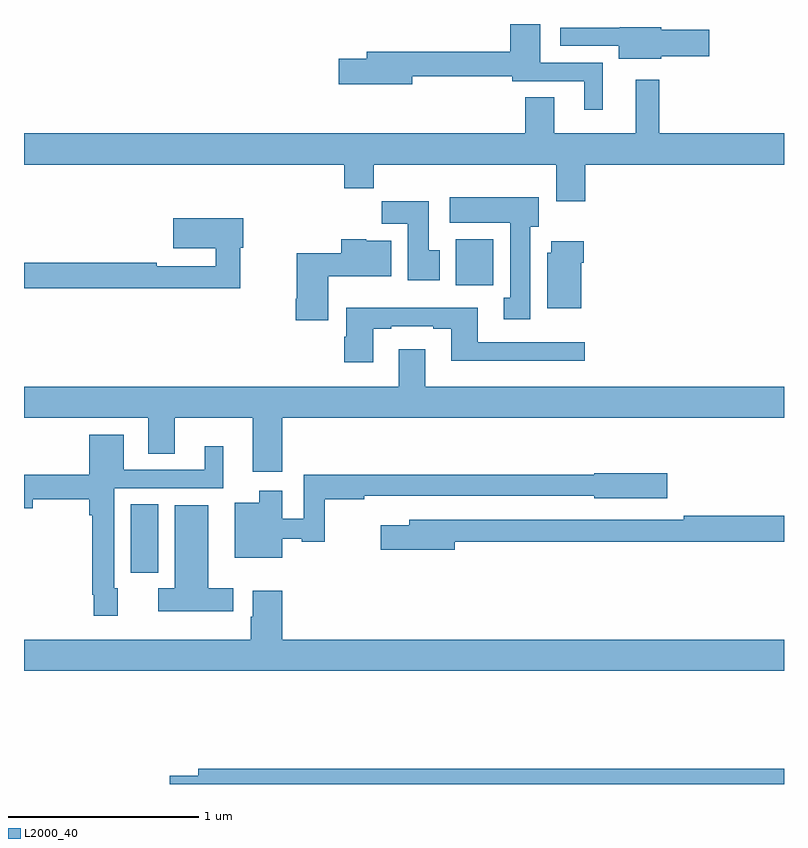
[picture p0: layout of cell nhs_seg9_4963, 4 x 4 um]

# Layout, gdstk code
import gdstk
lib = gdstk.Library(unit=1e-6, precision=1e-09)
def R(c, l, rs):  # rectangles x0, y0, x1, y1
    for r in rs: c.add(gdstk.rectangle(r[:2], r[2:], *l))
def P(c, l, *ps):  # polygons
    for p in ps: c.add(gdstk.Polygon(p, *l))
L2000_40 = (2000, 40)

nhs_seg9_4963 = lib.new_cell('nhs_seg9_4963')
R(nhs_seg9_4963, L2000_40, [(399.563,1187.611,399.706,1187.972), (401.273,1189.124,401.47,1189.366)])
P(nhs_seg9_4963, L2000_40, [(402.046,1190.295),(401.716,1190.295),(401.716,1190.5),(401.558,1190.5),(401.558,1190.354),(400.805,1190.354),(400.805,1190.318),(400.656,1190.318),(400.656,1190.183),(401.044,1190.183),(401.044,1190.226),(401.57,1190.226),(401.57,1190.199),(401.948,1190.199),(401.948,1190.049),(402.046,1190.049)],
  [(402.354,1190.329),(402.607,1190.329),(402.607,1190.471),(402.354,1190.471),(402.354,1190.482),(402.135,1190.482),(402.135,1190.481),(401.823,1190.481),(401.823,1190.385),(402.131,1190.385),(402.131,1190.318),(402.354,1190.318)],
  [(401.954,1189.76),(403,1189.76),(403,1189.924),(402.343,1189.924),(402.343,1190.206),(402.221,1190.206),(402.221,1189.924),(401.791,1189.924),(401.791,1190.114),(401.639,1190.114),(401.639,1189.924),(399,1189.924),(399,1189.76),(400.685,1189.76),(400.685,1189.636),(400.841,1189.636),(400.841,1189.76),(401.801,1189.76),(401.801,1189.566),(401.954,1189.566)],
  [(401.665,1189.434),(401.71,1189.434),(401.71,1189.588),(401.241,1189.588),(401.241,1189.454),(401.558,1189.454),(401.558,1189.058),(401.525,1189.058),(401.525,1188.945),(401.665,1188.945)],
  [(401.188,1189.308),(401.131,1189.308),(401.131,1189.567),(400.882,1189.567),(400.882,1189.448),(401.021,1189.448),(401.021,1189.152),(401.188,1189.152)],
  [(400.138,1189.323),(400.153,1189.323),(400.153,1189.477),(399.786,1189.477),(399.786,1189.319),(400.009,1189.319),(400.009,1189.224),(399.698,1189.224),(399.698,1189.244),(399,1189.244),(399,1189.108),(400.138,1189.108)],
  [(400.6,1189.172),(400.933,1189.172),(400.933,1189.36),(400.8,1189.36),(400.8,1189.366),(400.67,1189.366),(400.67,1189.294),(400.435,1189.294),(400.435,1189.054),(400.43,1189.054),(400.43,1188.942),(400.6,1188.942)],
  [(401.932,1189.244),(401.945,1189.244),(401.945,1189.357),(401.774,1189.357),(401.774,1189.296),(401.753,1189.296),(401.753,1189.004),(401.932,1189.004)],
  [(400.837,1188.897),(400.933,1188.897),(400.933,1188.909),(401.153,1188.909),(401.153,1188.897),(401.249,1188.897),(401.249,1188.728),(401.95,1188.728),(401.95,1188.825),(401.389,1188.825),(401.389,1189.006),(400.697,1189.006),(400.697,1188.854),(400.685,1188.854),(400.685,1188.72),(400.837,1188.72)],
  [(400.358,1188.428),(403,1188.428),(403,1188.592),(401.113,1188.592),(401.113,1188.787),(400.973,1188.787),(400.973,1188.592),(399,1188.592),(399,1188.428),(399.653,1188.428),(399.653,1188.238),(399.793,1188.238),(399.793,1188.428),(400.205,1188.428),(400.205,1188.144),(400.358,1188.144)],
  [(399.493,1187.529),(399.474,1187.529),(399.474,1188.057),(400.048,1188.057),(400.048,1188.277),(399.95,1188.277),(399.95,1188.153),(399.526,1188.153),(399.526,1188.337),(399.344,1188.337),(399.344,1188.127),(399,1188.127),(399,1187.951),(399.046,1187.951),(399.046,1187.998),(399.344,1187.998),(399.344,1187.915),(399.358,1187.915),(399.358,1187.497),(399.366,1187.497),(399.366,1187.385),(399.493,1187.385)],
  [(400.36,1187.791),(400.461,1187.791),(400.461,1187.776),(400.582,1187.776),(400.582,1187.998),(400.79,1187.998),(400.79,1188.018),(402,1188.018),(402,1188.005),(402.385,1188.005),(402.385,1188.135),(402,1188.135),(402,1188.127),(400.473,1188.127),(400.473,1187.895),(400.36,1187.895),(400.36,1188.043),(400.238,1188.043),(400.238,1187.98),(400.109,1187.98),(400.109,1187.69),(400.36,1187.69)],
  [(400.102,1187.53),(399.97,1187.53),(399.97,1187.968),(399.794,1187.968),(399.794,1187.53),(399.706,1187.53),(399.706,1187.408),(400.102,1187.408)],
  [(401.266,1187.776),(403,1187.776),(403,1187.912),(402.472,1187.912),(402.472,1187.892),(401.027,1187.892),(401.027,1187.863),(400.878,1187.863),(400.878,1187.734),(401.266,1187.734)],
  [(403,1187.26),(400.358,1187.26),(400.358,1187.518),(400.205,1187.518),(400.205,1187.381),(400.193,1187.381),(400.193,1187.26),(399,1187.26),(399,1187.096),(403,1187.096)],
  [(403,1186.58),(399.917,1186.58),(399.917,1186.544),(399.768,1186.544),(399.768,1186.5),(403,1186.5)])

lib.write_gds('nhs_seg9_4963.gds')
